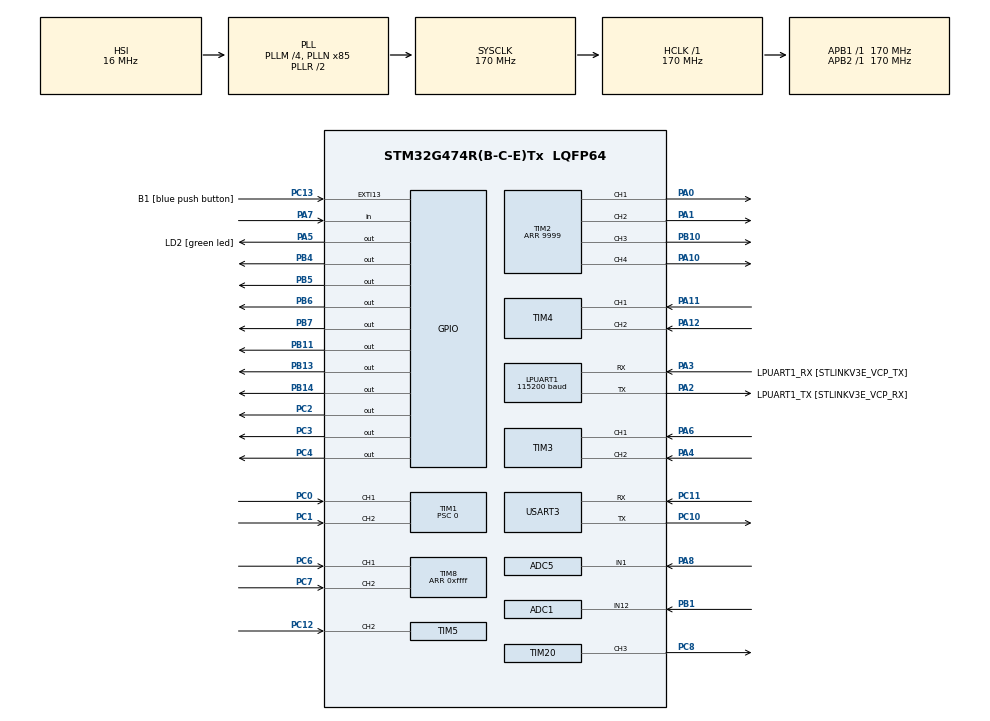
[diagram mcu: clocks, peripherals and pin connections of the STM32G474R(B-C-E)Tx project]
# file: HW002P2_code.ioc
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ADC1.Channel-0\#ChannelRegularConversion=ADC_CHANNEL_12
ADC1.NbrOfConversionFlag=1
ADC1.OffsetNumber-0\#ChannelRegularConversion=ADC_OFFSET_NONE
ADC1.Rank-0\#ChannelRegularConversion=1
ADC1.SamplingTime-0\#ChannelRegularConversion=ADC_SAMPLETIME_2CYCLES_5
ADC1.master=1
ADC5.Channel-0\#ChannelRegularConversion=ADC_CHANNEL_1
ADC5.NbrOfConversionFlag=1
ADC5.OffsetNumber-0\#ChannelRegularConversion=ADC_OFFSET_NONE
ADC5.Rank-0\#ChannelRegularConversion=1
ADC5.SamplingTime-0\#ChannelRegularConversion=ADC_SAMPLETIME_2CYCLES_5
LPUART1.BaudRate=115200
Mcu.Family=STM32G4
Mcu.Name=STM32G474R(B-C-E)Tx
Mcu.Package=LQFP64
NVIC.EXTI15_10_IRQn=true\:0\:0\:false\:false\:true\:true\:true\:true
NVIC.LPUART1_IRQn=true\:0\:0\:false\:false\:true\:true\:true\:true
NVIC.PriorityGroup=NVIC_PRIORITYGROUP_4
NVIC.TIM1_BRK_TIM15_IRQn=true\:0\:0\:false\:false\:true\:true\:true\:true
NVIC.TIM2_IRQn=true\:0\:0\:false\:false\:true\:true\:true\:true
NVIC.TIM5_IRQn=true\:0\:0\:false\:false\:true\:true\:true\:true
NVIC.USART3_IRQn=true\:0\:0\:false\:false\:true\:true\:true\:true
PA0.Signal=S_TIM2_CH1
PA1.Signal=S_TIM2_CH2
PA10.Signal=S_TIM2_CH4
PA11.Signal=S_TIM4_CH1
PA12.Signal=S_TIM4_CH2
PA13.GPIO_Label=T_SWDIO
PA13.Mode=Serial_Wire
PA13.Signal=SYS_JTMS-SWDIO
PA14.GPIO_Label=T_SWCLK
PA14.Mode=Serial_Wire
PA14.Signal=SYS_JTCK-SWCLK
PA2.GPIO_Label=LPUART1_TX [STLINKV3E_VCP_RX]
PA2.Mode=Asynchronous
PA2.Signal=LPUART1_TX
PA3.GPIO_Label=LPUART1_RX [STLINKV3E_VCP_TX]
PA3.Mode=Asynchronous
PA3.Signal=LPUART1_RX
PA4.Signal=S_TIM3_CH2
PA5.GPIO_Label=LD2 [green led]
PA5.Signal=GPIO_Output
PA6.Signal=S_TIM3_CH1
PA7.Signal=GPIO_Input
PA8.Mode=IN1-Single-Ended
PA8.Signal=ADC5_IN1
PB1.Mode=IN12-Single-Ended
PB1.Signal=ADC1_IN12
PB10.Signal=S_TIM2_CH3
PB11.Signal=GPIO_Output
PB13.Signal=GPIO_Output
PB14.Signal=GPIO_Output
PB2.Signal=S_TIM5_CH1
PB3.GPIO_Label=T_SWO
PB3.Signal=SYS_JTDO-SWO
PB4.Signal=GPIO_Output
PB5.Signal=GPIO_Output
PB6.Signal=GPIO_Output
PB7.Signal=GPIO_Output
PC0.Signal=S_TIM1_CH1
PC1.Signal=S_TIM1_CH2
PC10.Mode=Asynchronous
PC10.Signal=USART3_TX
PC11.Mode=Asynchronous
PC11.Signal=USART3_RX
PC12.Signal=S_TIM5_CH2
PC13.GPIO_Label=B1 [blue push button]
PC13.Signal=GPXTI13
PC14-OSC32_IN.Mode=LSE-External-Oscillator
PC14-OSC32_IN.Signal=RCC_OSC32_IN
PC15-OSC32_OUT.Mode=LSE-External-Oscillator
PC15-OSC32_OUT.Signal=RCC_OSC32_OUT
PC2.Signal=GPIO_Output
PC3.Signal=GPIO_Output
PC4.Signal=GPIO_Output
PC6.Signal=S_TIM8_CH1
PC7.Signal=S_TIM8_CH2
PC8.Signal=S_TIM20_CH3
PF0-OSC_IN.Mode=HSE-External-Oscillator
PF0-OSC_IN.Signal=RCC_OSC_IN
PF1-OSC_OUT.Mode=HSE-External-Oscillator
PF1-OSC_OUT.Signal=RCC_OSC_OUT
ProjectManager.HeapSize=0x200
ProjectManager.StackSize=0x400
ProjectManager.TargetToolchain=STM32CubeIDE
RCC.ADC12Freq_Value=170000000
RCC.ADC345Freq_Value=170000000
RCC.AHBFreq_Value=170000000
RCC.APB1Freq_Value=170000000
RCC.APB1TimFreq_Value=170000000
RCC.APB2Freq_Value=170000000
RCC.APB2TimFreq_Value=170000000
RCC.CortexFreq_Value=170000000
RCC.EXTERNAL_CLOCK_VALUE=12288000
RCC.HCLKFreq_Value=170000000
RCC.HSE_VALUE=24000000
RCC.HSI48_VALUE=48000000
RCC.HSI_VALUE=16000000
RCC.PLLM=RCC_PLLM_DIV4
RCC.PLLN=85
RCC.RTCClockSelection=RCC_RTCCLKSOURCE_LSE
RCC.SYSCLKFreq_VALUE=170000000
RCC.SYSCLKSource=RCC_SYSCLKSOURCE_PLLCLK
RCC.USBFreq_Value=170000000
RCC.VCOOutputFreq_Value=340000000
SH.S_TIM1_CH1.0=TIM1_CH1,Encoder_Interface
SH.S_TIM1_CH2.0=TIM1_CH2,Encoder_Interface
SH.S_TIM20_CH3.0=TIM20_CH3,PWM Generation3 CH3
SH.S_TIM2_CH1.0=TIM2_CH1,PWM Generation1 CH1
SH.S_TIM2_CH2.0=TIM2_CH2,PWM Generation2 CH2
SH.S_TIM2_CH3.0=TIM2_CH3,PWM Generation3 CH3
SH.S_TIM2_CH4.0=TIM2_CH4,PWM Generation4 CH4
SH.S_TIM3_CH1.0=TIM3_CH1,Encoder_Interface
SH.S_TIM3_CH2.0=TIM3_CH2,Encoder_Interface
SH.S_TIM4_CH1.0=TIM4_CH1,Encoder_Interface
SH.S_TIM4_CH2.0=TIM4_CH2,Encoder_Interface
SH.S_TIM5_CH1.0=TIM5_CH1
SH.S_TIM5_CH2.0=TIM5_CH2,Input_Capture2_from_TI2
SH.S_TIM8_CH1.0=TIM8_CH1,Encoder_Interface
SH.S_TIM8_CH2.0=TIM8_CH2,Encoder_Interface
TIM1.EncoderMode=TIM_ENCODERMODE_TI12
TIM1.PeriodNoDither=0xffff
TIM1.Prescaler=0
TIM15.PeriodNoDither=49999
TIM15.Prescaler=67
TIM2.Channel-PWM\ Generation1\ CH1=TIM_CHANNEL_1
TIM2.Channel-PWM\ Generation2\ CH2=TIM_CHANNEL_2
TIM2.Channel-PWM\ Generation3\ CH3=TIM_CHANNEL_3
TIM2.Channel-PWM\ Generation4\ CH4=TIM_CHANNEL_4
TIM2.PeriodNoDither=9999
TIM20.Channel-PWM\ Generation3\ CH3=TIM_CHANNEL_3
TIM3.EncoderMode=TIM_ENCODERMODE_TI12
TIM4.EncoderMode=TIM_ENCODERMODE_TI12
TIM5.Channel-Input_Capture2_from_TI2=TIM_CHANNEL_2
TIM5.PeriodNoDither=0xffffffff
TIM5.Prescaler=9
TIM8.EncoderMode=TIM_ENCODERMODE_TI12
TIM8.PeriodNoDither=0xffff
USART3.VirtualMode-Asynchronous=VM_ASYNC
VP_SYS_VS_DBSignals.Mode=DisableDeadBatterySignals
VP_TIM15_VS_ClockSourceINT.Mode=Internal
VP_TIM2_VS_ClockSourceINT.Mode=Internal
VP_TIM5_VS_ClockSourceINT.Mode=Internal
board=NUCLEO-G474RE

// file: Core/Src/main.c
/* USER CODE BEGIN Header */
/**
 ******************************************************************************
 * @file           : main.c
 * @brief          : Main program body
 ******************************************************************************
 * @attention
 *
 * Copyright (c) 2023 STMicroelectronics.
 * All rights reserved.
 *
 * This software is licensed under terms that can be found in the LICENSE file
 * in the root directory of this software component.
 * If no LICENSE file comes with this software, it is provided AS-IS.
 *
 ******************************************************************************
 */
/* USER CODE END Header */
#include "main.h"

/* USER CODE BEGIN Includes */
#include <math.h>
#include <stdio.h>
#include <string.h>

#include "uart.h"

/* USER CODE END Includes */

/* USER CODE BEGIN PD */
#define NP 1000

#define two_pi 6.2831853071795862
#define ABS(X) ((X < 0) ? (-X) : (X))
#define SAT(X) ((X > 100.0) ? (100.0) : (X))
#define SAT10k(X) ((X > 9999) ? (9999) : (X))
#define SATI16(X) ((X > 9999) ? (9999) : ((X < -9999) ? (-9999) : (X)))
#define RX_CMD_LEN 8
#define RX_BUF_LEN 16
#define TX_BUF_LEN 64
#define NO_RX_DATA 0
#define NEW_RX_DATA 1
#define TX_READY 0
#define TX_BUSY 1
#define STEP_SIZE 4400
#define SGN(X) ((X > 0) - (X < 0))
#define UART &hlpuart1

// Mecanum wheel geometry (meters)
#define WHEEL_RADIUS 0.030f  // 30mm wheel radius
#define WHEEL_BASE_L 0.095f  // half of wheelbase (front-back)
#define WHEEL_BASE_W 0.080f  // half of track width (left-right)
#define L_PLUS_W (WHEEL_BASE_L + WHEEL_BASE_W)

// Encoder conversion: encoder counts per revolution / 2*pi
#define ENCODER_CPR 1320  // counts per revolution (x4 mode: 4 * encoder lines)
#define COUNTS_TO_RAD (two_pi / ENCODER_CPR)

// Control loop frequency
#define CONTROL_FREQ 100.0f  // 100 Hz control loop
#define CONTROL_DT (1.0f / CONTROL_FREQ)

// Kinematics calibration factors
// These compensate for any mismatch between model and actual hardware
// Calibrated 2026-01-19: vx expected 2.5m actual 1.5m, wz expected 172° actual 90°
#define CAL_VX 1.67f  // Forward/backward velocity multiplier (CALIBRATED)
#define CAL_VY 1.5f   // Left/right velocity multiplier (ESTIMATED)
#define CAL_WZ 2.1f   // Rotation velocity multiplier (CALIBRATED)

// Global trajectory distance scale (1.0 = exact m/s from MATLAB)
// Increase this to make ALL trajectories larger/faster without changing MATLAB
#define DISTANCE_SCALE 8.0f

// Combined scaling factors (applied in kinematics)
#define SCALE_VX (CAL_VX * DISTANCE_SCALE)
#define SCALE_VY (CAL_VY * DISTANCE_SCALE)
#define SCALE_WZ (CAL_WZ)  // Rotation usually shouldn't scale with distance

/* USER CODE END PD */

ADC_HandleTypeDef hadc1;
ADC_HandleTypeDef hadc5;

UART_HandleTypeDef hlpuart1;
UART_HandleTypeDef huart3;

TIM_HandleTypeDef htim1;
TIM_HandleTypeDef htim2;
TIM_HandleTypeDef htim3;
TIM_HandleTypeDef htim4;
TIM_HandleTypeDef htim5;
TIM_HandleTypeDef htim8;
TIM_HandleTypeDef htim15;
TIM_HandleTypeDef htim20;

/* USER CODE BEGIN PV */

uint16_t ind, scan = 0, print, d = 100;
uint16_t tic = 50;
int16_t enc1, enc2, enc3, enc4;
uint8_t msg[40], stop, TestMode;
uint8_t pSensor = 0;
int16_t x = 1;

float u;
float u1;
float u2;
int16_t enc_k;
int16_t Enc_k[4];
int16_t enc_k1;
int16_t Enc_k1[4];
int16_t enc_k2;
int16_t Enc_k2[4];

int16_t ref = 0;
int16_t Ref[4] = {0, 0, 0, 0};  // Velocity reference for each wheel (encoder counts per sample)

uint16_t d2, PWM1, PWM2, PWM3, PWM13, OC1, OC2, DELAY, flag = 0;
int16_t Pwm[4];
uint16_t pa1 = 0, pa4 = 0, pb0 = 0;
int16_t REC[NP][5], ch = 0, s = 1;

uint16_t mode = STATE_IDLE;
uint16_t drive_mode = 0;

extern volatile uint8_t uart_rx_flag;
extern volatile uint8_t uart_tx_flag;

int16_t Enc[4], Enc1[4], Enc2[4], ka = 0;

// PI Controller variables
float kp = 3.2f;
float ki = 10.2f;
float kd = 0.0f;
int16_t E[4] = {0};   // Current error
int16_t E1[4] = {0};  // Previous error
int16_t E2[4] = {0};  // Two samples ago error
float U[4] = {0};     // Control output (integrator state)

// Motor dead zone compensation
// Motors don't start spinning until ~900 PWM due to static friction
#define PWM_DEADZONE 900

int16_t W = 0, W1 = 0, W2 = 0;
int16_t We[4], We1[4], We2[4];  // Wheel velocities (encoder counts per sample)
int32_t Enc32[4] = {0};         // Extended encoder counts (prevent overflow)

int8_t sensor_sign = 1;

/*
 * ==========================================================================
 * MOTOR INDEX MAPPING (view from above, front of cart is UP):
 * ==========================================================================
 *              FRONT
 *        +---------------+
 *        |  [2]     [3]  |     Motor 2 = Front Left  (FL)
 *        |   FL      FR  |     Motor 3 = Front Right (FR)
 *        |               |
 *        |       +-----> x (forward)
 *        |       |       |
 *        |       v       |
 *        |       y       |     y points LEFT
 *        |   RL      RR  |
 *        |  [1]     [0]  |     Motor 1 = Rear Left   (RL)
 *        +---------------+     Motor 0 = Rear Right  (RR)
 *              BACK
 *
 * ENCODER TIMERS:
 *   Motor 0 (RR) = TIM1
 *   Motor 1 (RL) = TIM8
 *   Motor 2 (FL) = TIM3
 *   Motor 3 (FR) = TIM4
 * ==========================================================================
 */

// Motor direction signs for H-bridge control
// Sign correction to ensure positive PWM = forward wheel rotation
int16_t motor_sign[4] = {1, -1, -1, 1};  // {RR, RL, FL, FR}

// Kinematics control variables
float vx_ref = 0.0f;  // Cart velocity x (m/s), +x = forward
float vy_ref = 0.0f;  // Cart velocity y (m/s), +y = left
float wz_ref = 0.0f;  // Cart angular velocity (rad/s), +wz = CCW

// Trajectory following variables
volatile uint32_t traj_index = 0;
volatile uint8_t traj_running = 0;
volatile uint32_t traj_next_time = 0;

// Obstacle detection
volatile uint8_t obstacle_detected = 0;
volatile uint8_t obstacle_stop_enabled = 1;

// Include trajectory data (generated by MATLAB)
#include "trajectory.h"

/* USER CODE END PV */

void SystemClock_Config(void);
static void MX_GPIO_Init(void);
static void MX_TIM1_Init(void);
static void MX_TIM2_Init(void);
static void MX_TIM3_Init(void);
static void MX_TIM4_Init(void);
static void MX_TIM5_Init(void);
static void MX_TIM8_Init(void);
static void MX_TIM15_Init(void);
static void MX_ADC5_Init(void);
static void MX_TIM20_Init(void);
static void MX_ADC1_Init(void);
static void MX_LPUART1_UART_Init(void);
static void MX_USART3_UART_Init(void);

/* USER CODE BEGIN 0 */

/**
 * @brief Set PWM outputs for all 4 motors
 * @param Pwm Array of PWM values (-9999 to 9999) for each motor
 *
 * Dead zone compensation is applied: when commanding non-zero velocity,
 * the output jumps over the static friction zone (PWM_DEADZONE).
 */
void set_pwm(int16_t Pwm[]) {
    int16_t pwm_out[4];

    // Apply dead zone compensation
    // If PWM is non-zero, add offset to overcome static friction
    for (int q = 0; q < 4; q++) {
        if (Pwm[q] > 0) {
            pwm_out[q] = Pwm[q] + PWM_DEADZONE;
        } else if (Pwm[q] < 0) {
            pwm_out[q] = Pwm[q] - PWM_DEADZONE;
        } else {
            pwm_out[q] = 0;
        }
    }

    // Motor 0 direction pins
    HAL_GPIO_WritePin(GPIOC, GPIO_PIN_2, pwm_out[0] * motor_sign[0] < 0);
    HAL_GPIO_WritePin(GPIOC, GPIO_PIN_3, (pwm_out[0] * motor_sign[0] > 0));

    // Motor 1 direction pins
    HAL_GPIO_WritePin(GPIOB, GPIO_PIN_4, (pwm_out[1] * motor_sign[1] < 0));
    HAL_GPIO_WritePin(GPIOB, GPIO_PIN_5, (pwm_out[1] * motor_sign[1] > 0));

    // Motor 2 direction pins
    HAL_GPIO_WritePin(GPIOB, GPIO_PIN_11, (pwm_out[2] * motor_sign[2] < 0));
    HAL_GPIO_WritePin(GPIOB, GPIO_PIN_6, (pwm_out[2] * motor_sign[2] > 0));

    // Motor 3 direction pins
    HAL_GPIO_WritePin(GPIOB, GPIO_PIN_13, (pwm_out[3] * motor_sign[3] < 0));
    HAL_GPIO_WritePin(GPIOB, GPIO_PIN_14, (pwm_out[3] * motor_sign[3] > 0));

    // Set PWM duty cycle (magnitude only, with saturation)
    TIM2->CCR1 = (uint16_t)SAT10k(ABS(pwm_out[0]));
    TIM2->CCR2 = (uint16_t)SAT10k(ABS(pwm_out[1]));
    TIM2->CCR3 = (uint16_t)SAT10k(ABS(pwm_out[2]));
    TIM2->CCR4 = (uint16_t)SAT10k(ABS(pwm_out[3]));
}

/**
 * @brief Read encoders and compute wheel velocities (open-loop, just reads)
 *        Encoder signs are applied so that forward motion = positive velocity
 */
void read_encoders(void) {
    // Store previous values
    for (int q = 0; q < 4; q++) {
        Enc2[q] = Enc1[q];
        Enc1[q] = Enc[q];
        We2[q] = We1[q];
        We1[q] = We[q];
    }

    // Read current encoder values with sign correction
    Enc[0] = motor_sign[0] * (int16_t)TIM1->CNT;
    Enc[1] = motor_sign[1] * (int16_t)TIM8->CNT;
    Enc[2] = motor_sign[2] * (int16_t)TIM3->CNT;
    Enc[3] = motor_sign[3] * (int16_t)TIM4->CNT;

    // Compute wheel velocities (encoder counts per sample)
    for (int q = 0; q < 4; q++) {
        We[q] = Enc[q] - Enc1[q];
        Enc32[q] += (int32_t)We[q];  // Accumulate for position tracking
    }
}

/**
 * @brief Basic PID function (open-loop mode, just reads encoders and sets PWM)
 */
void pid(void) {
    read_encoders();
    set_pwm(Pwm);
}

/**
 * @brief PI Velocity Controller for all 4 wheels
 *        Implements incremental PI: du = ki*E + kp*(E-E1)
 *        Control law: U[q] += du (with saturation)
 */
void velocity_pid(void) {
    float du;

    read_encoders();

    for (int q = 0; q < 4; q++) {
        // Store previous error
        E1[q] = E[q];

        // Compute velocity error (reference - measured)
        E[q] = Ref[q] - We[q];

        // Incremental PI control
        du = ki * (float)E[q] + kp * (float)(E[q] - E1[q]);
        U[q] += du;

        // Saturate control output
        if (U[q] > 9999.0f) U[q] = 9999.0f;
        if (U[q] < -9999.0f) U[q] = -9999.0f;

        // Apply to PWM
        Pwm[q] = (int16_t)U[q];
    }

    set_pwm(Pwm);
}

/**
 * @brief Reset PI controller integrators
 */
void reset_pid(void) {
    for (int q = 0; q < 4; q++) {
        E[q] = 0;
        E1[q] = 0;
        E2[q] = 0;
        U[q] = 0;
    }
}

/**
 * @brief Convert cart velocities (vx, vy, wz) to wheel velocity references
 *        Using Mecanum wheel inverse kinematics
 *
 * ==========================================================================
 * MOTOR INDEX MAPPING (view from above, front of cart is UP):
 * ==========================================================================
 *
 *              FRONT
 *        +---------------+
 *        |  [2]     [3]  |     Motor 2 = Front Left  (FL)
 *        |   FL      FR  |     Motor 3 = Front Right (FR)
 *        |               |
 *        |       +-----> x (forward)
 *        |       |       |
 *        |       v       |
 *        |       y       |     y points LEFT
 *        |   RL      RR  |
 *        |  [1]     [0]  |     Motor 1 = Rear Left   (RL)
 *        +---------------+     Motor 0 = Rear Right  (RR)
 *              BACK
 *
 * SIGN CONVENTIONS:
 *   +vx = move forward (front direction)
 *   +vy = move left
 *   +wz = rotate counter-clockwise (CCW)
 *
 * ==========================================================================
 */
void kinematics_to_wheel_vel(float vx, float vy, float wz) {
    float omega[4];

    // Apply combined scaling factors (Calibration * Distance)
    vx = vx * SCALE_VX;
    vy = vy * SCALE_VY;
    wz = wz * SCALE_WZ;

    // Compute wheel angular velocities (rad/s)
    // Index 0 = RR (Rear Right)
    // Index 1 = RL (Rear Left)
    // Index 2 = FL (Front Left)
    // Index 3 = FR (Front Right)
    omega[0] = (vx - vy + L_PLUS_W * wz) / WHEEL_RADIUS;  // RR
    omega[1] = (vx + vy - L_PLUS_W * wz) / WHEEL_RADIUS;  // RL
    omega[2] = (vx - vy - L_PLUS_W * wz) / WHEEL_RADIUS;  // FL
    omega[3] = (vx + vy + L_PLUS_W * wz) / WHEEL_RADIUS;  // FR

    // Convert to encoder counts per sample period
    for (int q = 0; q < 4; q++) {
        float counts_per_sec = omega[q] / COUNTS_TO_RAD;
        Ref[q] = (int16_t)(counts_per_sec * CONTROL_DT);
    }
}

/**
 * @brief Record encoder data for system identification
 */
void record_enc(void) {
    if (mode == STATE_SQUARE) {
        REC[ka][0] = Pwm[0];
        REC[ka][1] = Enc[0];
        REC[ka][2] = Enc[1];
        REC[ka][3] = Enc[2];
        REC[ka][4] = Enc[3];
        ka++;

        if (ka == NP) {
            mode = STATE_IDLE;
            ka = 0;
            Pwm[0] = Pwm[1] = Pwm[2] = Pwm[3] = 0;
            reset_pid();
            pid();
        }
    }
}

/**
 * @brief Set drive mode PWM based on predefined directions (open-loop)
 */
void set_drive_pwm(void) {
    int16_t speed = 3000;
    int16_t p[4] = {0};

    switch (drive_mode) {
        case MODE_F:  // Forward
            p[0] = speed;
            p[1] = speed;
            p[2] = speed;
            p[3] = speed;
            break;
        case MODE_B:  // Backward
            p[0] = -speed;
            p[1] = -speed;
            p[2] = -speed;
            p[3] = -speed;
            break;
        case MODE_CW:  // Clockwise rotation
            p[0] = -speed;
            p[1] = speed;
            p[2] = speed;
            p[3] = -speed;
            break;
        case MODE_CCW:  // Counter-clockwise rotation
            p[0] = speed;
            p[1] = -speed;
            p[2] = -speed;
            p[3] = speed;
            break;
        case MODE_NW:  // Diagonal NW
            p[0] = 0;
            p[1] = speed;
            p[2] = 0;
            p[3] = speed;
            break;
        case MODE_SE:  // Diagonal SE
            p[0] = 0;
            p[1] = -speed;
            p[2] = 0;
            p[3] = -speed;
            break;
        case MODE_NE:  // Diagonal NE
            p[0] = speed;
            p[1] = 0;
            p[2] = speed;
            p[3] = 0;
            break;
        case MODE_SW:  // Diagonal SW
            p[0] = -speed;
            p[1] = 0;
            p[2] = -speed;
            p[3] = 0;
            break;
        default:
            p[0] = 0;
            p[1] = 0;
            p[2] = 0;
            p[3] = 0;
            break;
    }
    set_pwm(p);
}

/**
 * @brief Check obstacle sensor and update flag
 */
void check_obstacle(void) {
    pSensor = HAL_GPIO_ReadPin(GPIOA, GPIO_PIN_7);
    obstacle_detected = (pSensor == 0) ^ sensor_sign;

    // Visual feedback on LED
    HAL_GPIO_WritePin(GPIOA, GPIO_PIN_5, obstacle_detected);
}

/**
 * @brief Start trajectory execution using TIM5 output compare
 */
void start_trajectory(void) {
    if (traj_running) return;

    traj_index = 0;
    traj_running = 1;
    reset_pid();

    // Reconfigure TIM5 Channel 2 for Output Compare mode
    // (It was initialized as Input Capture by CubeMX)
    TIM_OC_InitTypeDef sConfigOC = {0};
    sConfigOC.OCMode = TIM_OCMODE_TIMING;  // No output pin, just interrupt
    sConfigOC.Pulse = 0;
    sConfigOC.OCPolarity = TIM_OCPOLARITY_HIGH;
    sConfigOC.OCFastMode = TIM_OCFAST_DISABLE;

    // Stop any previous OC and reconfigure
    HAL_TIM_OC_Stop_IT(&htim5, TIM_CHANNEL_2);
    HAL_TIM_OC_ConfigChannel(&htim5, &sConfigOC, TIM_CHANNEL_2);

    // Reset and configure TIM5 counter
    __HAL_TIM_SET_COUNTER(&htim5, 0);

    // Set first compare value (first time delta)
    if (traj_index < tt_clk_len) {
        traj_next_time = tt_clk[traj_index];
        __HAL_TIM_SET_COMPARE(&htim5, TIM_CHANNEL_2, traj_next_time);
    }

    // Enable the output compare interrupt
    __HAL_TIM_ENABLE_IT(&htim5, TIM_IT_CC2);

    // Enable TIM5 NVIC interrupt (not enabled by CubeMX since TIM5 was input capture)
    HAL_NVIC_SetPriority(TIM5_IRQn, 1, 0);
    HAL_NVIC_EnableIRQ(TIM5_IRQn);

    // Start TIM5 base timer (counter runs continuously)
    HAL_TIM_Base_Start(&htim5);

    // Start output compare interrupt mode
    HAL_TIM_OC_Start_IT(&htim5, TIM_CHANNEL_2);

    // Apply first trajectory point using kinematics
    if (traj_index < traj_len) {
        kinematics_to_wheel_vel(vx_t[traj_index], vy_t[traj_index], wz_t[traj_index]);
    }
}

/**
 * @brief Stop trajectory execution
 */
void stop_trajectory(void) {
    traj_running = 0;
    HAL_TIM_OC_Stop_IT(&htim5, TIM_CHANNEL_2);

    // Stop motors - zero all references and PWM
    Ref[0] = Ref[1] = Ref[2] = Ref[3] = 0;
    Pwm[0] = Pwm[1] = Pwm[2] = Pwm[3] = 0;
    set_pwm(Pwm);
    reset_pid();
}

/**
 * @brief TIM5 Output Compare callback for trajectory timing
 */
void HAL_TIM_OC_DelayElapsedCallback(TIM_HandleTypeDef* htim) {
    if (htim->Instance == TIM5 && htim->Channel == HAL_TIM_ACTIVE_CHANNEL_2) {
        if (!traj_running) return;

        traj_index++;

        // Check for end of trajectory
        if (traj_index >= traj_len - 1) {
            stop_trajectory();
            mode = STATE_IDLE;
            return;
        }

        // Apply next trajectory point using kinematics
        kinematics_to_wheel_vel(vx_t[traj_index], vy_t[traj_index], wz_t[traj_index]);

        // Schedule next interrupt
        // Note: We need to schedule even for the last point so stop_trajectory gets called
        if (traj_index < tt_clk_len) {
            traj_next_time += tt_clk[traj_index];
        } else {
            // Last point: schedule a short delay (100ms) to trigger stop
            traj_next_time += 1700000;  // ~100ms at 17MHz
        }
        __HAL_TIM_SET_COMPARE(&htim5, TIM_CHANNEL_2, traj_next_time);
    }
}

/* USER CODE END 0 */

int main(void) {

    /* MCU Configuration--------------------------------------------------------*/

    /* Reset of all peripherals, Initializes the Flash interface and the Systick. */
    HAL_Init();

    /* Configure the system clock */
    SystemClock_Config();

    /* Initialize all configured peripherals */
    MX_GPIO_Init();
    MX_TIM1_Init();
    MX_TIM2_Init();
    MX_TIM3_Init();
    MX_TIM4_Init();
    MX_TIM5_Init();
    MX_TIM8_Init();
    MX_TIM15_Init();
    MX_ADC5_Init();
    MX_TIM20_Init();
    MX_ADC1_Init();
    MX_LPUART1_UART_Init();
    MX_USART3_UART_Init();
    /* USER CODE BEGIN 2 */
    init_uart2();

    // Start PWM for all 4 motors
    HAL_TIM_PWM_Start(&htim2, TIM_CHANNEL_1);
    HAL_TIM_PWM_Start(&htim2, TIM_CHANNEL_2);
    HAL_TIM_PWM_Start(&htim2, TIM_CHANNEL_3);
    HAL_TIM_PWM_Start(&htim2, TIM_CHANNEL_4);

    HAL_TIM_PWM_Start(&htim20, TIM_CHANNEL_3);  // Servo PWM

    // Initialize PWM to 0
    __HAL_TIM_SET_COMPARE(&htim2, TIM_CHANNEL_1, 0);
    __HAL_TIM_SET_COMPARE(&htim2, TIM_CHANNEL_2, 0);
    __HAL_TIM_SET_COMPARE(&htim2, TIM_CHANNEL_3, 0);
    __HAL_TIM_SET_COMPARE(&htim2, TIM_CHANNEL_4, 0);

    // Start encoder timers
    HAL_TIM_Encoder_Start(&htim1, TIM_CHANNEL_ALL);
    HAL_TIM_Encoder_Start(&htim8, TIM_CHANNEL_ALL);
    HAL_TIM_Encoder_Start(&htim3, TIM_CHANNEL_ALL);
    HAL_TIM_Encoder_Start(&htim4, TIM_CHANNEL_ALL);

    // Start TIM5 base for trajectory timing
    HAL_TIM_Base_Start(&htim5);

    // Start control loop timer interrupt (TIM15 @ 100Hz)
    HAL_TIM_Base_Start_IT(&htim15);

    // Initialize PI controller
    reset_pid();

    TestMode = stop = 0;
    /* USER CODE END 2 */

    /* Infinite loop */
    /* USER CODE BEGIN WHILE */
    while (1) {
        HAL_Delay(10);
        handle_comm();

        // Check obstacle sensor periodically
        check_obstacle();
        /* USER CODE END WHILE */

    }
}

void SystemClock_Config(void) {
    RCC_OscInitTypeDef RCC_OscInitStruct = {0};
    RCC_ClkInitTypeDef RCC_ClkInitStruct = {0};

    /** Configure the main internal regulator output voltage
     */
    HAL_PWREx_ControlVoltageScaling(PWR_REGULATOR_VOLTAGE_SCALE1_BOOST);

    /** Initializes the RCC Oscillators according to the specified parameters
     * in the RCC_OscInitTypeDef structure.
     */
    RCC_OscInitStruct.OscillatorType = RCC_OSCILLATORTYPE_HSI;
    RCC_OscInitStruct.HSIState = RCC_HSI_ON;
    RCC_OscInitStruct.HSICalibrationValue = RCC_HSICALIBRATION_DEFAULT;
    RCC_OscInitStruct.PLL.PLLState = RCC_PLL_ON;
    RCC_OscInitStruct.PLL.PLLSource = RCC_PLLSOURCE_HSI;
    RCC_OscInitStruct.PLL.PLLM = RCC_PLLM_DIV4;
    RCC_OscInitStruct.PLL.PLLN = 85;
    RCC_OscInitStruct.PLL.PLLP = RCC_PLLP_DIV2;
    RCC_OscInitStruct.PLL.PLLQ = RCC_PLLQ_DIV2;
    RCC_OscInitStruct.PLL.PLLR = RCC_PLLR_DIV2;
    if (HAL_RCC_OscConfig(&RCC_OscInitStruct) != HAL_OK) {
        Error_Handler();
    }

    /** Initializes the CPU, AHB and APB buses clocks
     */
    RCC_ClkInitStruct.ClockType =
        RCC_CLOCKTYPE_HCLK | RCC_CLOCKTYPE_SYSCLK | RCC_CLOCKTYPE_PCLK1 | RCC_CLOCKTYPE_PCLK2;
    RCC_ClkInitStruct.SYSCLKSource = RCC_SYSCLKSOURCE_PLLCLK;
    RCC_ClkInitStruct.AHBCLKDivider = RCC_SYSCLK_DIV1;
    RCC_ClkInitStruct.APB1CLKDivider = RCC_HCLK_DIV1;
    RCC_ClkInitStruct.APB2CLKDivider = RCC_HCLK_DIV1;

    if (HAL_RCC_ClockConfig(&RCC_ClkInitStruct, FLASH_LATENCY_4) != HAL_OK) {
        Error_Handler();
    }
}

static void MX_ADC1_Init(void) {

    ADC_MultiModeTypeDef multimode = {0};
    ADC_ChannelConfTypeDef sConfig = {0};

    /** Common config
     */
    hadc1.Instance = ADC1;
    hadc1.Init.ClockPrescaler = ADC_CLOCK_SYNC_PCLK_DIV4;
    hadc1.Init.Resolution = ADC_RESOLUTION_12B;
    hadc1.Init.DataAlign = ADC_DATAALIGN_RIGHT;
    hadc1.Init.GainCompensation = 0;
    hadc1.Init.ScanConvMode = ADC_SCAN_DISABLE;
    hadc1.Init.EOCSelection = ADC_EOC_SINGLE_CONV;
    hadc1.Init.LowPowerAutoWait = DISABLE;
    hadc1.Init.ContinuousConvMode = DISABLE;
    hadc1.Init.NbrOfConversion = 1;
    hadc1.Init.DiscontinuousConvMode = DISABLE;
    hadc1.Init.ExternalTrigConv = ADC_SOFTWARE_START;
    hadc1.Init.ExternalTrigConvEdge = ADC_EXTERNALTRIGCONVEDGE_NONE;
    hadc1.Init.DMAContinuousRequests = DISABLE;
    hadc1.Init.Overrun = ADC_OVR_DATA_PRESERVED;
    hadc1.Init.OversamplingMode = DISABLE;
    if (HAL_ADC_Init(&hadc1) != HAL_OK) {
        Error_Handler();
    }

    /** Configure the ADC multi-mode
     */
    multimode.Mode = ADC_MODE_INDEPENDENT;
    if (HAL_ADCEx_MultiModeConfigChannel(&hadc1, &multimode) != HAL_OK) {
        Error_Handler();
    }

    /** Configure Regular Channel
     */
    sConfig.Channel = ADC_CHANNEL_12;
    sConfig.Rank = ADC_REGULAR_RANK_1;
    sConfig.SamplingTime = ADC_SAMPLETIME_2CYCLES_5;
    sConfig.SingleDiff = ADC_SINGLE_ENDED;
    sConfig.OffsetNumber = ADC_OFFSET_NONE;
    sConfig.Offset = 0;
    if (HAL_ADC_ConfigChannel(&hadc1, &sConfig) != HAL_OK) {
        Error_Handler();
    }
}

static void MX_ADC5_Init(void) {

    ADC_ChannelConfTypeDef sConfig = {0};

    /** Common config
     */
    hadc5.Instance = ADC5;
    hadc5.Init.ClockPrescaler = ADC_CLOCK_SYNC_PCLK_DIV4;
    hadc5.Init.Resolution = ADC_RESOLUTION_12B;
    hadc5.Init.DataAlign = ADC_DATAALIGN_RIGHT;
    hadc5.Init.GainCompensation = 0;
    hadc5.Init.ScanConvMode = ADC_SCAN_DISABLE;
    hadc5.Init.EOCSelection = ADC_EOC_SINGLE_CONV;
    hadc5.Init.LowPowerAutoWait = DISABLE;
    hadc5.Init.ContinuousConvMode = DISABLE;
    hadc5.Init.NbrOfConversion = 1;
    hadc5.Init.DiscontinuousConvMode = DISABLE;
    hadc5.Init.ExternalTrigConv = ADC_SOFTWARE_START;
    hadc5.Init.ExternalTrigConvEdge = ADC_EXTERNALTRIGCONVEDGE_NONE;
    hadc5.Init.DMAContinuousRequests = DISABLE;
    hadc5.Init.Overrun = ADC_OVR_DATA_PRESERVED;
    hadc5.Init.OversamplingMode = DISABLE;
    if (HAL_ADC_Init(&hadc5) != HAL_OK) {
        Error_Handler();
    }

    /** Configure Regular Channel
     */
    sConfig.Channel = ADC_CHANNEL_1;
    sConfig.Rank = ADC_REGULAR_RANK_1;
    sConfig.SamplingTime = ADC_SAMPLETIME_2CYCLES_5;
    sConfig.SingleDiff = ADC_SINGLE_ENDED;
    sConfig.OffsetNumber = ADC_OFFSET_NONE;
    sConfig.Offset = 0;
    if (HAL_ADC_ConfigChannel(&hadc5, &sConfig) != HAL_OK) {
        Error_Handler();
    }
}

static void MX_LPUART1_UART_Init(void) {

    hlpuart1.Instance = LPUART1;
    hlpuart1.Init.BaudRate = 115200;
    hlpuart1.Init.WordLength = UART_WORDLENGTH_8B;
    hlpuart1.Init.StopBits = UART_STOPBITS_1;
    hlpuart1.Init.Parity = UART_PARITY_NONE;
    hlpuart1.Init.Mode = UART_MODE_TX_RX;
    hlpuart1.Init.HwFlowCtl = UART_HWCONTROL_NONE;
    hlpuart1.Init.OneBitSampling = UART_ONE_BIT_SAMPLE_DISABLE;
    hlpuart1.Init.ClockPrescaler = UART_PRESCALER_DIV1;
    hlpuart1.AdvancedInit.AdvFeatureInit = UART_ADVFEATURE_NO_INIT;
    if (HAL_UART_Init(&hlpuart1) != HAL_OK) {
        Error_Handler();
    }
    if (HAL_UARTEx_SetTxFifoThreshold(&hlpuart1, UART_TXFIFO_THRESHOLD_1_8) != HAL_OK) {
        Error_Handler();
    }
    if (HAL_UARTEx_SetRxFifoThreshold(&hlpuart1, UART_RXFIFO_THRESHOLD_1_8) != HAL_OK) {
        Error_Handler();
    }
    if (HAL_UARTEx_DisableFifoMode(&hlpuart1) != HAL_OK) {
        Error_Handler();
    }
}

static void MX_USART3_UART_Init(void) {

    huart3.Instance = USART3;
    huart3.Init.BaudRate = 115200;
    huart3.Init.WordLength = UART_WORDLENGTH_8B;
    huart3.Init.StopBits = UART_STOPBITS_1;
    huart3.Init.Parity = UART_PARITY_NONE;
    huart3.Init.Mode = UART_MODE_TX_RX;
    huart3.Init.HwFlowCtl = UART_HWCONTROL_NONE;
    huart3.Init.OverSampling = UART_OVERSAMPLING_16;
    huart3.Init.OneBitSampling = UART_ONE_BIT_SAMPLE_DISABLE;
    huart3.Init.ClockPrescaler = UART_PRESCALER_DIV1;
    huart3.AdvancedInit.AdvFeatureInit = UART_ADVFEATURE_NO_INIT;
    if (HAL_UART_Init(&huart3) != HAL_OK) {
        Error_Handler();
    }
    if (HAL_UARTEx_SetTxFifoThreshold(&huart3, UART_TXFIFO_THRESHOLD_1_8) != HAL_OK) {
        Error_Handler();
    }
    if (HAL_UARTEx_SetRxFifoThreshold(&huart3, UART_RXFIFO_THRESHOLD_1_8) != HAL_OK) {
        Error_Handler();
    }
    if (HAL_UARTEx_DisableFifoMode(&huart3) != HAL_OK) {
        Error_Handler();
    }
}

static void MX_TIM1_Init(void) {

    TIM_Encoder_InitTypeDef sConfig = {0};
    TIM_MasterConfigTypeDef sMasterConfig = {0};

    htim1.Instance = TIM1;
    htim1.Init.Prescaler = 0;
    htim1.Init.CounterMode = TIM_COUNTERMODE_UP;
    htim1.Init.Period = 65535;
    htim1.Init.ClockDivision = TIM_CLOCKDIVISION_DIV1;
    htim1.Init.RepetitionCounter = 0;
    htim1.Init.AutoReloadPreload = TIM_AUTORELOAD_PRELOAD_DISABLE;
    sConfig.EncoderMode = TIM_ENCODERMODE_TI12;
    sConfig.IC1Polarity = TIM_ICPOLARITY_RISING;
    sConfig.IC1Selection = TIM_ICSELECTION_DIRECTTI;
    sConfig.IC1Prescaler = TIM_ICPSC_DIV1;
    sConfig.IC1Filter = 0;
    sConfig.IC2Polarity = TIM_ICPOLARITY_RISING;
    sConfig.IC2Selection = TIM_ICSELECTION_DIRECTTI;
    sConfig.IC2Prescaler = TIM_ICPSC_DIV1;
    sConfig.IC2Filter = 0;
    if (HAL_TIM_Encoder_Init(&htim1, &sConfig) != HAL_OK) {
        Error_Handler();
    }
    sMasterConfig.MasterOutputTrigger = TIM_TRGO_RESET;
    sMasterConfig.MasterOutputTrigger2 = TIM_TRGO2_RESET;
    sMasterConfig.MasterSlaveMode = TIM_MASTERSLAVEMODE_DISABLE;
    if (HAL_TIMEx_MasterConfigSynchronization(&htim1, &sMasterConfig) != HAL_OK) {
        Error_Handler();
    }
}

static void MX_TIM2_Init(void) {

    TIM_ClockConfigTypeDef sClockSourceConfig = {0};
    TIM_MasterConfigTypeDef sMasterConfig = {0};
    TIM_OC_InitTypeDef sConfigOC = {0};

    htim2.Instance = TIM2;
    htim2.Init.Prescaler = 0;
    htim2.Init.CounterMode = TIM_COUNTERMODE_UP;
    htim2.Init.Period = 9999;
    htim2.Init.ClockDivision = TIM_CLOCKDIVISION_DIV1;
    htim2.Init.AutoReloadPreload = TIM_AUTORELOAD_PRELOAD_DISABLE;
    if (HAL_TIM_Base_Init(&htim2) != HAL_OK) {
        Error_Handler();
    }
    sClockSourceConfig.ClockSource = TIM_CLOCKSOURCE_INTERNAL;
    if (HAL_TIM_ConfigClockSource(&htim2, &sClockSourceConfig) != HAL_OK) {
        Error_Handler();
    }
    if (HAL_TIM_PWM_Init(&htim2) != HAL_OK) {
        Error_Handler();
    }
    sMasterConfig.MasterOutputTrigger = TIM_TRGO_RESET;
    sMasterConfig.MasterSlaveMode = TIM_MASTERSLAVEMODE_DISABLE;
    if (HAL_TIMEx_MasterConfigSynchronization(&htim2, &sMasterConfig) != HAL_OK) {
        Error_Handler();
    }
    sConfigOC.OCMode = TIM_OCMODE_PWM1;
    sConfigOC.Pulse = 0;
    sConfigOC.OCPolarity = TIM_OCPOLARITY_HIGH;
    sConfigOC.OCFastMode = TIM_OCFAST_DISABLE;
    if (HAL_TIM_PWM_ConfigChannel(&htim2, &sConfigOC, TIM_CHANNEL_1) != HAL_OK) {
        Error_Handler();
    }
    if (HAL_TIM_PWM_ConfigChannel(&htim2, &sConfigOC, TIM_CHANNEL_2) != HAL_OK) {
        Error_Handler();
    }
    if (HAL_TIM_PWM_ConfigChannel(&htim2, &sConfigOC, TIM_CHANNEL_3) != HAL_OK) {
        Error_Handler();
    }
    if (HAL_TIM_PWM_ConfigChannel(&htim2, &sConfigOC, TIM_CHANNEL_4) != HAL_OK) {
        Error_Handler();
    }
    HAL_TIM_MspPostInit(&htim2);
}

static void MX_TIM3_Init(void) {

    TIM_Encoder_InitTypeDef sConfig = {0};
    TIM_MasterConfigTypeDef sMasterConfig = {0};

    htim3.Instance = TIM3;
    htim3.Init.Prescaler = 0;
    htim3.Init.CounterMode = TIM_COUNTERMODE_UP;
    htim3.Init.Period = 65535;
    htim3.Init.ClockDivision = TIM_CLOCKDIVISION_DIV1;
    htim3.Init.AutoReloadPreload = TIM_AUTORELOAD_PRELOAD_DISABLE;
    sConfig.EncoderMode = TIM_ENCODERMODE_TI12;
    sConfig.IC1Polarity = TIM_ICPOLARITY_RISING;
    sConfig.IC1Selection = TIM_ICSELECTION_DIRECTTI;
    sConfig.IC1Prescaler = TIM_ICPSC_DIV1;
    sConfig.IC1Filter = 0;
    sConfig.IC2Polarity = TIM_ICPOLARITY_RISING;
    sConfig.IC2Selection = TIM_ICSELECTION_DIRECTTI;
    sConfig.IC2Prescaler = TIM_ICPSC_DIV1;
    sConfig.IC2Filter = 0;
    if (HAL_TIM_Encoder_Init(&htim3, &sConfig) != HAL_OK) {
        Error_Handler();
    }
    sMasterConfig.MasterOutputTrigger = TIM_TRGO_RESET;
    sMasterConfig.MasterSlaveMode = TIM_MASTERSLAVEMODE_DISABLE;
    if (HAL_TIMEx_MasterConfigSynchronization(&htim3, &sMasterConfig) != HAL_OK) {
        Error_Handler();
    }
}

static void MX_TIM4_Init(void) {

    TIM_Encoder_InitTypeDef sConfig = {0};
    TIM_MasterConfigTypeDef sMasterConfig = {0};

    htim4.Instance = TIM4;
    htim4.Init.Prescaler = 0;
    htim4.Init.CounterMode = TIM_COUNTERMODE_UP;
    htim4.Init.Period = 65535;
    htim4.Init.ClockDivision = TIM_CLOCKDIVISION_DIV1;
    htim4.Init.AutoReloadPreload = TIM_AUTORELOAD_PRELOAD_DISABLE;
    sConfig.EncoderMode = TIM_ENCODERMODE_TI12;
    sConfig.IC1Polarity = TIM_ICPOLARITY_RISING;
    sConfig.IC1Selection = TIM_ICSELECTION_DIRECTTI;
    sConfig.IC1Prescaler = TIM_ICPSC_DIV1;
    sConfig.IC1Filter = 0;
    sConfig.IC2Polarity = TIM_ICPOLARITY_RISING;
    sConfig.IC2Selection = TIM_ICSELECTION_DIRECTTI;
    sConfig.IC2Prescaler = TIM_ICPSC_DIV1;
    sConfig.IC2Filter = 0;
    if (HAL_TIM_Encoder_Init(&htim4, &sConfig) != HAL_OK) {
        Error_Handler();
    }
    sMasterConfig.MasterOutputTrigger = TIM_TRGO_RESET;
    sMasterConfig.MasterSlaveMode = TIM_MASTERSLAVEMODE_DISABLE;
    if (HAL_TIMEx_MasterConfigSynchronization(&htim4, &sMasterConfig) != HAL_OK) {
        Error_Handler();
    }
}

static void MX_TIM5_Init(void) {

    TIM_ClockConfigTypeDef sClockSourceConfig = {0};
    TIM_MasterConfigTypeDef sMasterConfig = {0};
    TIM_IC_InitTypeDef sConfigIC = {0};

    htim5.Instance = TIM5;
    htim5.Init.Prescaler = 9;
    htim5.Init.CounterMode = TIM_COUNTERMODE_UP;
    htim5.Init.Period = 4294967295;
    htim5.Init.ClockDivision = TIM_CLOCKDIVISION_DIV1;
    htim5.Init.AutoReloadPreload = TIM_AUTORELOAD_PRELOAD_DISABLE;
    if (HAL_TIM_Base_Init(&htim5) != HAL_OK) {
        Error_Handler();
    }
    sClockSourceConfig.ClockSource = TIM_CLOCKSOURCE_INTERNAL;
    if (HAL_TIM_ConfigClockSource(&htim5, &sClockSourceConfig) != HAL_OK) {
        Error_Handler();
    }
    if (HAL_TIM_IC_Init(&htim5) != HAL_OK) {
        Error_Handler();
    }
    sMasterConfig.MasterOutputTrigger = TIM_TRGO_RESET;
    sMasterConfig.MasterSlaveMode = TIM_MASTERSLAVEMODE_DISABLE;
    if (HAL_TIMEx_MasterConfigSynchronization(&htim5, &sMasterConfig) != HAL_OK) {
        Error_Handler();
    }
    sConfigIC.ICPolarity = TIM_INPUTCHANNELPOLARITY_RISING;
    sConfigIC.ICSelection = TIM_ICSELECTION_DIRECTTI;
    sConfigIC.ICPrescaler = TIM_ICPSC_DIV1;
    sConfigIC.ICFilter = 0;
    if (HAL_TIM_IC_ConfigChannel(&htim5, &sConfigIC, TIM_CHANNEL_2) != HAL_OK) {
        Error_Handler();
    }
}

static void MX_TIM8_Init(void) {

    TIM_Encoder_InitTypeDef sConfig = {0};
    TIM_MasterConfigTypeDef sMasterConfig = {0};

    htim8.Instance = TIM8;
    htim8.Init.Prescaler = 0;
    htim8.Init.CounterMode = TIM_COUNTERMODE_UP;
    htim8.Init.Period = 65535;
    htim8.Init.ClockDivision = TIM_CLOCKDIVISION_DIV1;
    htim8.Init.RepetitionCounter = 0;
    htim8.Init.AutoReloadPreload = TIM_AUTORELOAD_PRELOAD_DISABLE;
    sConfig.EncoderMode = TIM_ENCODERMODE_TI12;
    sConfig.IC1Polarity = TIM_ICPOLARITY_RISING;
    sConfig.IC1Selection = TIM_ICSELECTION_DIRECTTI;
    sConfig.IC1Prescaler = TIM_ICPSC_DIV1;
    sConfig.IC1Filter = 0;
    sConfig.IC2Polarity = TIM_ICPOLARITY_RISING;
    sConfig.IC2Selection = TIM_ICSELECTION_DIRECTTI;
    sConfig.IC2Prescaler = TIM_ICPSC_DIV1;
    sConfig.IC2Filter = 0;
    if (HAL_TIM_Encoder_Init(&htim8, &sConfig) != HAL_OK) {
        Error_Handler();
    }
    sMasterConfig.MasterOutputTrigger = TIM_TRGO_RESET;
    sMasterConfig.MasterOutputTrigger2 = TIM_TRGO2_RESET;
    sMasterConfig.MasterSlaveMode = TIM_MASTERSLAVEMODE_DISABLE;
    if (HAL_TIMEx_MasterConfigSynchronization(&htim8, &sMasterConfig) != HAL_OK) {
        Error_Handler();
    }
}

static void MX_TIM15_Init(void) {

    TIM_ClockConfigTypeDef sClockSourceConfig = {0};
    TIM_MasterConfigTypeDef sMasterConfig = {0};

    htim15.Instance = TIM15;
    htim15.Init.Prescaler = 67;
    htim15.Init.CounterMode = TIM_COUNTERMODE_UP;
    htim15.Init.Period = 49999;
    htim15.Init.ClockDivision = TIM_CLOCKDIVISION_DIV1;
    htim15.Init.RepetitionCounter = 0;
    htim15.Init.AutoReloadPreload = TIM_AUTORELOAD_PRELOAD_DISABLE;
    if (HAL_TIM_Base_Init(&htim15) != HAL_OK) {
        Error_Handler();
    }
    sClockSourceConfig.ClockSource = TIM_CLOCKSOURCE_INTERNAL;
    if (HAL_TIM_ConfigClockSource(&htim15, &sClockSourceConfig) != HAL_OK) {
        Error_Handler();
    }
    sMasterConfig.MasterOutputTrigger = TIM_TRGO_RESET;
    sMasterConfig.MasterSlaveMode = TIM_MASTERSLAVEMODE_DISABLE;
    if (HAL_TIMEx_MasterConfigSynchronization(&htim15, &sMasterConfig) != HAL_OK) {
        Error_Handler();
    }
}

static void MX_TIM20_Init(void) {

    TIM_MasterConfigTypeDef sMasterConfig = {0};
    TIM_OC_InitTypeDef sConfigOC = {0};
    TIM_BreakDeadTimeConfigTypeDef sBreakDeadTimeConfig = {0};

    htim20.Instance = TIM20;
    htim20.Init.Prescaler = 0;
    htim20.Init.CounterMode = TIM_COUNTERMODE_UP;
    htim20.Init.Period = 65535;
    htim20.Init.ClockDivision = TIM_CLOCKDIVISION_DIV1;
    htim20.Init.RepetitionCounter = 0;
    htim20.Init.AutoReloadPreload = TIM_AUTORELOAD_PRELOAD_DISABLE;
    if (HAL_TIM_PWM_Init(&htim20) != HAL_OK) {
        Error_Handler();
    }
    sMasterConfig.MasterOutputTrigger = TIM_TRGO_RESET;
    sMasterConfig.MasterOutputTrigger2 = TIM_TRGO2_RESET;
    sMasterConfig.MasterSlaveMode = TIM_MASTERSLAVEMODE_DISABLE;
    if (HAL_TIMEx_MasterConfigSynchronization(&htim20, &sMasterConfig) != HAL_OK) {
        Error_Handler();
    }
    sConfigOC.OCMode = TIM_OCMODE_PWM1;
    sConfigOC.Pulse = 0;
    sConfigOC.OCPolarity = TIM_OCPOLARITY_HIGH;
    sConfigOC.OCNPolarity = TIM_OCNPOLARITY_HIGH;
    sConfigOC.OCFastMode = TIM_OCFAST_DISABLE;
    sConfigOC.OCIdleState = TIM_OCIDLESTATE_RESET;
    sConfigOC.OCNIdleState = TIM_OCNIDLESTATE_RESET;
    if (HAL_TIM_PWM_ConfigChannel(&htim20, &sConfigOC, TIM_CHANNEL_3) != HAL_OK) {
        Error_Handler();
    }
    sBreakDeadTimeConfig.OffStateRunMode = TIM_OSSR_DISABLE;
    sBreakDeadTimeConfig.OffStateIDLEMode = TIM_OSSI_DISABLE;
    sBreakDeadTimeConfig.LockLevel = TIM_LOCKLEVEL_OFF;
    sBreakDeadTimeConfig.DeadTime = 0;
    sBreakDeadTimeConfig.BreakState = TIM_BREAK_DISABLE;
    sBreakDeadTimeConfig.BreakPolarity = TIM_BREAKPOLARITY_HIGH;
    sBreakDeadTimeConfig.BreakFilter = 0;
    sBreakDeadTimeConfig.BreakAFMode = TIM_BREAK_AFMODE_INPUT;
    sBreakDeadTimeConfig.Break2State = TIM_BREAK2_DISABLE;
    sBreakDeadTimeConfig.Break2Polarity = TIM_BREAK2POLARITY_HIGH;
    sBreakDeadTimeConfig.Break2Filter = 0;
    sBreakDeadTimeConfig.Break2AFMode = TIM_BREAK_AFMODE_INPUT;
    sBreakDeadTimeConfig.AutomaticOutput = TIM_AUTOMATICOUTPUT_DISABLE;
    if (HAL_TIMEx_ConfigBreakDeadTime(&htim20, &sBreakDeadTimeConfig) != HAL_OK) {
        Error_Handler();
    }
    HAL_TIM_MspPostInit(&htim20);
}

static void MX_GPIO_Init(void) {
    GPIO_InitTypeDef GPIO_InitStruct = {0};

    /* GPIO Ports Clock Enable */
    __HAL_RCC_GPIOC_CLK_ENABLE();
    __HAL_RCC_GPIOF_CLK_ENABLE();
    __HAL_RCC_GPIOA_CLK_ENABLE();
    __HAL_RCC_GPIOB_CLK_ENABLE();

    /*Configure GPIO pin Output Level */
    HAL_GPIO_WritePin(GPIOC, GPIO_PIN_2 | GPIO_PIN_3 | GPIO_PIN_4, GPIO_PIN_RESET);

    /*Configure GPIO pin Output Level */
    HAL_GPIO_WritePin(LD2_GPIO_Port, LD2_Pin, GPIO_PIN_RESET);

    /*Configure GPIO pin Output Level */
    HAL_GPIO_WritePin(
        GPIOB,
        GPIO_PIN_11 | GPIO_PIN_13 | GPIO_PIN_14 | GPIO_PIN_4 | GPIO_PIN_5 | GPIO_PIN_6 | GPIO_PIN_7,
        GPIO_PIN_RESET);

    /*Configure GPIO pin : B1_Pin */
    GPIO_InitStruct.Pin = B1_Pin;
    GPIO_InitStruct.Mode = GPIO_MODE_IT_RISING;
    GPIO_InitStruct.Pull = GPIO_NOPULL;
    HAL_GPIO_Init(B1_GPIO_Port, &GPIO_InitStruct);

    /*Configure GPIO pins : PC2 PC3 PC4 */
    GPIO_InitStruct.Pin = GPIO_PIN_2 | GPIO_PIN_3 | GPIO_PIN_4;
    GPIO_InitStruct.Mode = GPIO_MODE_OUTPUT_PP;
    GPIO_InitStruct.Pull = GPIO_NOPULL;
    GPIO_InitStruct.Speed = GPIO_SPEED_FREQ_LOW;
    HAL_GPIO_Init(GPIOC, &GPIO_InitStruct);

    /*Configure GPIO pin : LD2_Pin */
    GPIO_InitStruct.Pin = LD2_Pin;
    GPIO_InitStruct.Mode = GPIO_MODE_OUTPUT_PP;
    GPIO_InitStruct.Pull = GPIO_NOPULL;
    GPIO_InitStruct.Speed = GPIO_SPEED_FREQ_LOW;
    HAL_GPIO_Init(LD2_GPIO_Port, &GPIO_InitStruct);

    /*Configure GPIO pin : PA7 */
    GPIO_InitStruct.Pin = GPIO_PIN_7;
    GPIO_InitStruct.Mode = GPIO_MODE_INPUT;
    GPIO_InitStruct.Pull = GPIO_NOPULL;
    HAL_GPIO_Init(GPIOA, &GPIO_InitStruct);

    /*Configure GPIO pins : PB11 PB13 PB14 PB4
                             PB5 PB6 PB7 */
    GPIO_InitStruct.Pin =
        GPIO_PIN_11 | GPIO_PIN_13 | GPIO_PIN_14 | GPIO_PIN_4 | GPIO_PIN_5 | GPIO_PIN_6 | GPIO_PIN_7;
    GPIO_InitStruct.Mode = GPIO_MODE_OUTPUT_PP;
    GPIO_InitStruct.Pull = GPIO_NOPULL;
    GPIO_InitStruct.Speed = GPIO_SPEED_FREQ_LOW;
    HAL_GPIO_Init(GPIOB, &GPIO_InitStruct);

    /* EXTI interrupt init*/
    HAL_NVIC_SetPriority(EXTI15_10_IRQn, 0, 0);
    HAL_NVIC_EnableIRQ(EXTI15_10_IRQn);

}

/* USER CODE BEGIN 4 */

/**
 * @brief Timer period elapsed callback - Main control loop (100 Hz)
 */
void HAL_TIM_PeriodElapsedCallback(TIM_HandleTypeDef* htim) {
    if (htim->Instance == TIM15) {
        // Check obstacle - pause motion if enabled but DON'T cancel trajectory
        if (obstacle_detected && obstacle_stop_enabled &&
            (mode == STATE_TRAJECTORY || mode == STATE_KINEMATICS)) {
            // Pause: stop motors but keep mode and trajectory index
            // When obstacle clears, trajectory will resume automatically
            Ref[0] = Ref[1] = Ref[2] = Ref[3] = 0;  // Zero velocity reference
            Pwm[0] = Pwm[1] = Pwm[2] = Pwm[3] = 0;
            set_pwm(Pwm);
            return;  // Skip control loop while paused
        }

        switch (mode) {
            case STATE_IDLE:
                Pwm[0] = Pwm[1] = Pwm[2] = Pwm[3] = 0;
                pid();
                break;

            case STATE_PWM:
                // Pwm values set by UART command
                pid();
                break;

            case STATE_SQUARE:
                if ((ka % 100) == 0) s = -s;
                if (ka > 10) {
                    int16_t val = s * STEP_SIZE;
                    Pwm[0] = Pwm[1] = Pwm[2] = Pwm[3] = val;
                } else {
                    Pwm[0] = Pwm[1] = Pwm[2] = Pwm[3] = 0;
                }
                pid();
                record_enc();
                break;

            case STATE_DRIVE:
                set_drive_pwm();
                pid();
                break;

            case STATE_VELOCITY:
                // Closed-loop velocity control
                velocity_pid();
                break;

            case STATE_KINEMATICS:
                // Convert kinematics to wheel velocities then apply PI control
                kinematics_to_wheel_vel(vx_ref, vy_ref, wz_ref);
                velocity_pid();
                break;

            case STATE_TRAJECTORY:
                // Trajectory references are set by output compare interrupt
                velocity_pid();
                break;

            default:
                mode = STATE_IDLE;
                break;
        }

        // LED heartbeat
        if (--tic == 0) {
            tic = 50;
            HAL_GPIO_TogglePin(GPIOA, GPIO_PIN_5);
        }
    }
}

/* USER CODE END 4 */

void Error_Handler(void) {
    __disable_irq();
    while (1) {
    }
}
